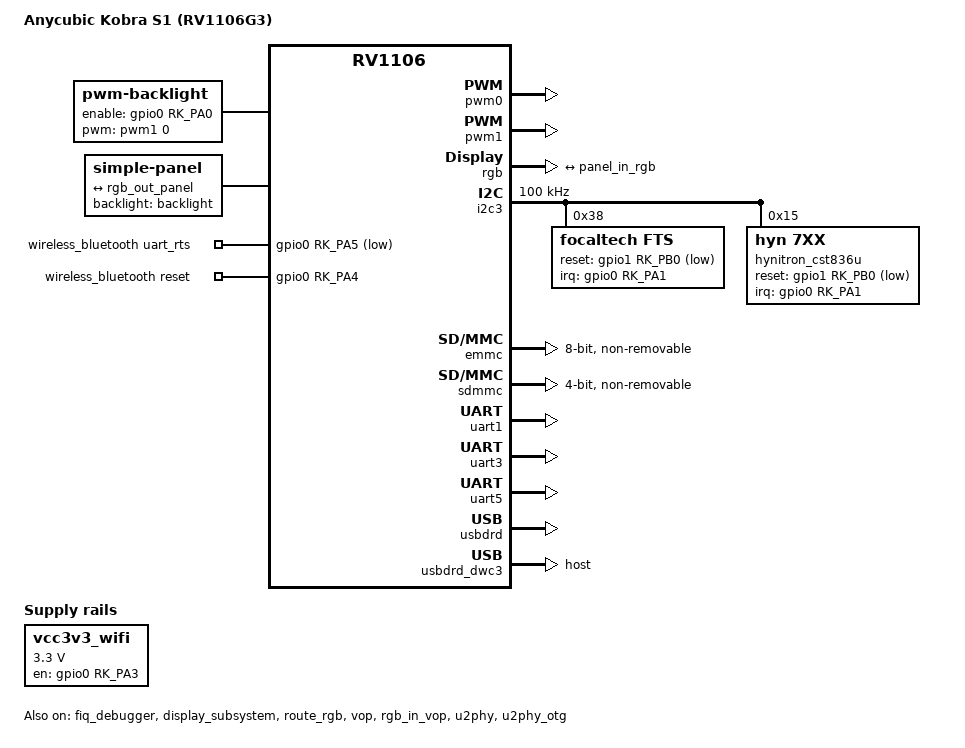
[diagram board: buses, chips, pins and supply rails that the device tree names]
// SPDX-License-Identifier: (GPL-2.0+ OR MIT)
/*
 * Anycubic Kobra S1 host board (Rockchip RV1106G3, 256 MB DDR3, 8 GB eMMC).
 *
 * Rebuilt at source level from the stock DTB (analysis/kobra_s1.dts, FW 2.7.2.7).
 * Anycubic started from the Rockchip "IPC38 V10 SPI NAND" EVB, so this file includes
 * the same dtsi set and only carries the Kobra-specific overrides. Differences to the
 * stock DTB are listed in docs/kernel-build.md and checked with tools/dtb_normalize.py.
 *
 * Console: FIQ debugger on UART2 (pad J1, 115200), console=ttyFIQ0. The 8250
 * earlycon on the same UART prints the log before the FIQ debugger is registered.
 */

/dts-v1/;

#include "rv1106.dtsi"
#include "rv1106-evb.dtsi"
#include "rv1106-ipc.dtsi"

/ {
	model = "Anycubic Kobra S1 (RV1106G3)";
	compatible = "anycubic,kobra-s1", "rockchip,rv1106";

	chosen {
		/* U-Boot replaces root= with the partition of the active A/B slot. */
		bootargs = "earlycon=uart8250,mmio32,0xff4c0000 console=ttyFIQ0 panic=5 oops=panic rootwait snd_soc_core.prealloc_buffer_size_kbytes=16 coherent_pool=0 root=/dev/mmcblk0p8 rootfstype=squashfs rk_dma_heap_cma=18M";
	};

	/* EVB/IPC parts that are not on this board */
	/delete-node/ acodec-sound;
	/delete-node/ adc-keys;
	/delete-node/ restart-poweroff;
	/*
	 * Not in the stock DT (older SDK dtsi) and unused here (CONFIG_ARM_PSCI is off;
	 * reboot goes through the CRU restart notifier like stock). Removed so a later
	 * PSCI-enabled config does not silently depend on the stock OP-TEE.
	 */
	/delete-node/ psci;

	vcc3v3_wifi: vcc3v3-wifi {
		compatible = "regulator-fixed";
		regulator-name = "vcc3v3_wifi";
		regulator-boot-on;
		regulator-always-on;
		regulator-min-microvolt = <3300000>;
		regulator-max-microvolt = <3300000>;
		enable-active-high;
		gpio = <&gpio0 RK_PA3 GPIO_ACTIVE_HIGH>;
		pinctrl-names = "default";
		pinctrl-0 = <&wifi_pwren>;
	};

	backlight: backlight {
		compatible = "pwm-backlight";
		pwms = <&pwm1 0 25000 0>;
		brightness-levels = <
			  0   1   2   3   4   5   6   7   8   9  10  11  12  13  14  15
			 16  17  18  19  20  21  22  23  24  25  26  27  28  29  30  31
			 32  33  34  35  36  37  38  39  40  41  42  43  44  45  46  47
			 48  49  50  51  52  53  54  55  56  57  58  59  60  61  62  63
			 64  65  66  67  68  69  70  71  72  73  74  75  76  77  78  79
			 80  81  82  83  84  85  86  87  88  89  90  91  92  93  94  95
			 96  97  98  99 100 101 102 103 104 105 106 107 108 109 110 111
			112 113 114 115 116 117 118 119 120 121 122 123 124 125 126 127
			128 129 130 131 132 133 134 135 136 137 138 139 140 141 142 143
			144 145 146 147 148 149 150 151 152 153 154 155 156 157 158 159
			160 161 162 163 164 165 166 167 168 169 170 171 172 173 174 175
			176 177 178 179 180 181 182 183 184 185 186 187 188 189 190 191
			192 193 194 195 196 197 198 199 200 201 202 203 204 205 206 207
			208 209 210 211 212 213 214 215 216 217 218 219 220 221 222 223
			224 225 226 227 228 229 230 231 232 233 234 235 236 237 238 239
			240 241 242 243 244 245 246 247 248 249 250 251 252 253 254 255>;
		default-brightness-level = <200>;
		enable-gpios = <&gpio0 RK_PA0 GPIO_ACTIVE_HIGH>;
		status = "okay";
	};

	/* 800x480 18-bit (RGB666) parallel panel, 31.25 MHz */
	panel {
		compatible = "simple-panel";
		bus-format = <0x1009>;	/* MEDIA_BUS_FMT_RGB666_1X18 */
		backlight = <&backlight>;
		/* empty gpio properties as in stock (no panel enable/reset line) */
		enable-gpios;
		enable-delay-ms = <20>;
		reset-gpios;
		reset-value = <0>;
		reset-delay-ms = <10>;
		status = "okay";

		display-timings {
			native-mode = <&timing0>;

			timing0: timing0 {
				clock-frequency = <31250000>;
				hactive = <800>;
				hback-porch = <8>;
				hfront-porch = <8>;
				hsync-len = <4>;
				vactive = <480>;
				vback-porch = <8>;
				vfront-porch = <8>;
				vsync-len = <4>;
				hsync-active = <0>;
				vsync-active = <0>;
				de-active = <0>;
				pixelclk-active = <0>;
			};
		};

		port {
			panel_in_rgb: endpoint {
				remote-endpoint = <&rgb_out_panel>;
			};
		};
	};

	/* RTL8723DS: Wi-Fi on SDIO (sdmmc controller), Bluetooth on UART1 */
	wireless-wlan {
		compatible = "wlan-platdata";
		wifi_chip_type = "rtl8723ds";
		pinctrl-names = "default";
		status = "okay";
	};

	wireless_bluetooth {
		compatible = "bluetooth-platdata";
		uart_rts_gpios = <&gpio0 RK_PA5 GPIO_ACTIVE_LOW>;
		pinctrl-names = "default", "rts_gpio";
		pinctrl-0 = <&uart1m0_rtsn>;
		pinctrl-1 = <&uart1_rts_gpio>;
		BT,reset_gpio = <&gpio0 RK_PA4 GPIO_ACTIVE_HIGH>;
		status = "okay";
	};

	reserved-memory {
		#address-cells = <1>;
		#size-cells = <1>;
		ranges;

		linux,cma {
			compatible = "shared-dma-pool";
			inactive;
			reusable;
			size = <0x1000000>;
			linux,cma-default;
		};

		/* filled in by U-Boot with the boot logo framebuffer */
		drm_logo: drm-logo@00000000 {
			compatible = "rockchip,drm-logo";
			reg = <0x0 0x0>;
		};
	};
};

/*
 * FIQ debugger console on UART2 m1 (GPIO1_B2/B3 = pad J1), 115200. Same node as the
 * tested build/boot_fiq_test.img (tools/fit_patch_console.py --mode fiq); UART2 itself
 * stays disabled so the 8250 driver does not take the port after earlycon.
 */
&fiq_debugger {
	rockchip,serial-id = <2>;
	rockchip,irq-mode-enable = <1>;
	rockchip,baudrate = <115200>;
	pinctrl-names = "default";
	pinctrl-0 = <&uart2m1_xfer>;
	status = "okay";
};

/* Stock runs the CPU at a fixed 1416 MHz (only this OPP, max 1.05 V). */
&cpu0_opp_table {
	/delete-property/ nvmem-cells;
	/delete-property/ nvmem-cell-names;
	/delete-property/ rockchip,temp-hysteresis;
	/delete-property/ rockchip,low-temp;
	/delete-property/ rockchip,low-temp-min-volt;
	/delete-node/ opp-408000000;
	/delete-node/ opp-600000000;
	/delete-node/ opp-816000000;
	/delete-node/ opp-1104000000;
	/delete-node/ opp-1200000000;
	/delete-node/ opp-1296000000;
	/delete-node/ opp-1512000000;
	/delete-node/ opp-1608000000;

	opp-1416000000 {
		opp-microvolt = <925000 850000 1050000>;
	};
};

/*
 * vdd_arm points at PWM7 (pwm7m2, GPIO3_C6) instead of the EVB's PWM0, but stock keeps
 * PWM7 disabled: the pwm-regulator never probes and the CPU stays at the voltage the
 * bootloader set (fixed 1416 MHz). Kept like that until the regulator is verified.
 */
&vdd_arm {
	pwms = <&pwm7 0 5000 1>;
};

&pwm0 {
	status = "okay";
};

&pwm1 {
	pinctrl-0 = <&pwm1m2_pins>;
	status = "okay";
};

&pwm7 {
	pinctrl-0 = <&pwm7m2_pins>;
	status = "disabled";
};

/* ---- display: VOP -> RGB -> panel ---- */
&display_subsystem {
	memory-region = <&drm_logo>;
	memory-region-names = "drm-logo";
	status = "okay";
};

&route_rgb {
	logo,uboot = "logo.bmp";
	logo,kernel = "logo_kernel.bmp";
	logo,mode = "center";
	charge_logo,mode = "center";
	status = "okay";
};

&vop {
	status = "okay";
};

&rgb {
	pinctrl-names = "default";
	pinctrl-0 = <&lcd_pins>;
	status = "okay";

	ports {
		port@1 {
			reg = <1>;
			#address-cells = <1>;
			#size-cells = <0>;

			rgb_out_panel: endpoint@0 {
				reg = <0>;
				remote-endpoint = <&panel_in_rgb>;
			};
		};
	};
};

&rgb_in_vop {
	status = "okay";
};

/* ---- touch: FocalTech FT (or Hynitron CST836U on some batches) on I2C3 m2 ---- */
&i2c3 {
	clock-frequency = <100000>;
	pinctrl-names = "default";
	pinctrl-0 = <&i2c3m2_xfer>;
	status = "okay";

	focaltech@38 {
		compatible = "focaltech,fts";
		reg = <0x38>;
		interrupt-parent = <&gpio0>;
		interrupts = <RK_PA1 IRQ_TYPE_EDGE_FALLING>;
		focaltech,reset-gpio = <&gpio1 RK_PB0 GPIO_ACTIVE_LOW>;
		focaltech,irq-gpio = <&gpio0 RK_PA1 IRQ_TYPE_LEVEL_LOW>;
		focaltech,max-touch-number = <5>;
		focaltech,display-coords = <0 0 799 479>;
		status = "okay";
	};

	hynitron_cst836u@15 {
		compatible = "hyn,7xx";
		reg = <0x15>;
		interrupt-parent = <&gpio0>;
		interrupts = <RK_PA1 IRQ_TYPE_EDGE_FALLING>;
		reset-gpio = <&gpio1 RK_PB0 GPIO_ACTIVE_LOW>;
		irq-gpio = <&gpio0 RK_PA1 IRQ_TYPE_LEVEL_LOW>;
		max-touch-number = <1>;
		display-coords = <0 0 800 480>;
		pos-swap = <0>;
		posx-reverse = <0>;
		posy-reverse = <0>;
		status = "okay";
	};
};

/* I2C4: EVB camera sensors removed; stock keeps an (unused) xpt7603 node, bus disabled */
&i2c4 {
	clock-frequency = <400000>;
	pinctrl-0 = <&i2c4m0_xfer>;
	status = "disabled";

	/delete-node/ sc3336@30;
	/delete-node/ sc4336@30;
	/delete-node/ sc530ai@30;

	xpt7603@48 {
		compatible = "xpt7603";
		reg = <0x48>;
		gpio_irq = <&gpio0 RK_PA1 IRQ_TYPE_LEVEL_LOW>;
		max-x = <480>;
		max-y = <272>;
		status = "okay";
	};
};

/* ---- camera pipeline: the printer camera is UVC on USB, the CSI path is unused ---- */
&csi2_dphy0 {
	status = "disabled";
	/delete-node/ ports;
};

&mipi0_csi2 {
	status = "disabled";
	/delete-node/ ports;
};

&mipi0_csi2_hw {
	status = "disabled";
};

&mipi1_csi2_hw {
	status = "disabled";
};

&rkcif_mipi_lvds {
	status = "disabled";
	/delete-node/ port;
};

/* ---- audio: none on this board ---- */
&acodec {
	status = "disabled";
};

&i2s0_8ch {
	status = "disabled";
};

/* ---- storage ---- */
&emmc {
	bus-width = <8>;
	cap-mmc-highspeed;
	non-removable;
	mmc-ddr-1_8v;
	mmc-hs200-1_8v;
	rockchip,default-sample-phase = <90>;
	/delete-property/ rockchip,use-v2-tuning;
	no-sdio;
	no-sd;
	status = "okay";
};

/* no SPI flash on the board (the EVB's SPI NAND) */
&sfc {
	status = "disabled";
};

/* RTL8723DS SDIO Wi-Fi on the "sdmmc" controller (SDMMC0 pins) */
&sdmmc {
	/delete-property/ cap-mmc-highspeed;
	/delete-property/ disable-wp;
	/delete-property/ no-sdio;
	/delete-property/ vmmc-supply;
	/delete-property/ pinctrl-1;
	max-frequency = <50000000>;
	clock-frequency = <20000000>;
	clock-freq-min-max = <200000 50000000>;
	bus-width = <4>;
	no-sd;
	no-mmc;
	cap-sd-highspeed;
	cap-sdio-irq;
	keep-power-in-suspend;
	non-removable;
	supports-sdio;
	pinctrl-names = "default";
	pinctrl-0 = <&sdmmc0_cmd &sdmmc0_clk &sdmmc0_bus4>;
	num-slots = <1>;
	status = "okay";
};

/* ---- UARTs ---- */
/* UART1 = Bluetooth (RTS handled by bluetooth-platdata) */
&uart1 {
	pinctrl-0 = <&uart1m0_xfer &uart1m0_ctsn>;
	status = "okay";
};

/* UART3 / UART5 = the two Klipper MCUs (576000 baud) */
&uart3 {
	status = "okay";
};

&uart5 {
	pinctrl-0 = <&uart5m2_xfer>;
	status = "okay";
};

&uart0 {
	pinctrl-0 = <&uart0m1_xfer>;
};

/* ---- SPI1: two custom "charlie,spidev" devices (Anycubic), bus left disabled as in stock ---- */
&spi1 {
	max-freq = <5000000>;
	num-cs = <2>;
	/delete-property/ assigned-clocks;
	/delete-property/ assigned-clock-rates;
	status = "disabled";

	spi_test1@0 {
		compatible = "charlie,spidev";
		reg = <0>;
		#address-cells = <1>;
		#size-cells = <0>;
		spi-cpha = <1>;
		spi-cpol = <1>;
		spi-max-frequency = <5000000>;
		status = "okay";
	};

	spi_test2@1 {
		compatible = "charlie,spidev";
		reg = <1>;
		#address-cells = <1>;
		#size-cells = <0>;
		spi-cpha = <1>;
		spi-cpol = <1>;
		spi-max-frequency = <5000000>;
		status = "okay";
	};
};

/* ---- USB: DWC3 host only (GL850G hub -> UVC camera, USB stick) ---- */
&u2phy {
	status = "okay";
};

&u2phy_otg {
	status = "okay";
};

&usbdrd {
	status = "okay";
};

&usbdrd_dwc3 {
	dr_mode = "host";
	extcon = <&u2phy>;
	status = "okay";
};

/* stock has the thermal sensor disabled */
&tsadc {
	status = "disabled";
};

/*
 * With tsadc disabled, soc-thermal cannot be read (-EINVAL) and the RK630 PHY service
 * task logged "failed to read out thermal zone (-22)" every second. The PHY only uses
 * the temperature to pick its RX signal-detect config, which never happened anyway;
 * without the property it skips the read.
 */
&rmii_phy {
	/delete-property/ rockchip,thermal-zone;
};

&pinctrl {
	wcc3v3_wifi {
		wifi_pwren: wifi-pwren {
			rockchip,pins = <0 RK_PA3 RK_FUNC_GPIO &pcfg_pull_none>;
		};
	};

	wireless_bluetooth {
		uart1_rts_gpio: uart1-rts-gpio {
			rockchip,pins = <0 RK_PA5 RK_FUNC_GPIO &pcfg_pull_none>;
		};
	};
};
